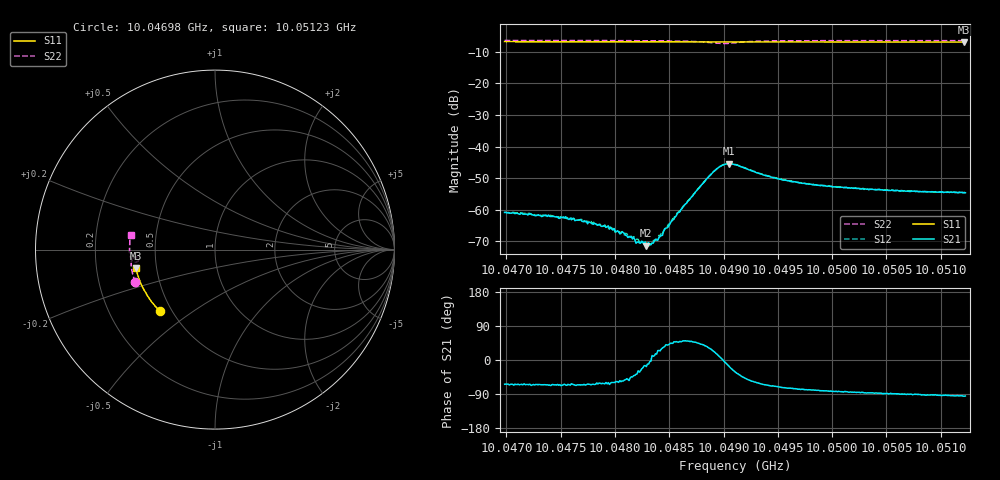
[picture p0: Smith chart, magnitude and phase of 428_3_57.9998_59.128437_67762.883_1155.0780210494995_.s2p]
#  HZ  S  RI  R  50.00
! Rohde & Schwarz Vector Network Analyzer
! Rohde-Schwarz,ZNB20-2Port,1311601062101988,3.16
! Created: UTC 3/21/2024, 1:09:26 AM
! freq[Hz]  re:S11  im:S11  re:S21  im:S21  re:S12  im:S12  re:S22  im:S22
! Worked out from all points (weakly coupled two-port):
!   401 points, 10.04698 GHz to 10.05123 GHz, reference 50 ohm
!   highest |S21| = -45.46 dB at 10.04905 GHz (marker M1); lowest = -71.4 dB at 10.04829 GHz (marker M2)
!   lowest |S11| = -6.9 dB at 10.05122 GHz (marker M3), VSWR 2.65, Z = 19.1 - j5.01 ohm
!   |S11| at or under -10 dB: nowhere
!   |S22| runs from -7.4 to -6.4 dB; largest |S21 - S12| = 0.00037
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1.0046984e10  -0.3056 -0.3433  0.000396 -0.000811  0.000462 -0.000788  -0.4445 -0.181
1.0047525e10  -0.3306 -0.3177  0.000322 -0.000696  0.000332 -0.000657  -0.456 -0.146
1.0047695e10  -0.338 -0.3093  0.000274 -0.000597  0.000345 -0.000605  -0.459 -0.1347
1.0047886e10  -0.346 -0.2995  0.000258 -0.000479  0.00031 -0.000483  -0.4621 -0.1213
1.0048087e10  -0.3542 -0.2891  0.000252 -0.000332  0.000253 -0.000305  -0.4647 -0.1066
1.0048119e10  -0.3555 -0.2875  0.000227 -0.00028  0.00028 -0.000282  -0.4652 -0.1045
1.0048161e10  -0.3573 -0.2852  0.000243 -0.000241  0.000277 -0.000235  -0.4657 -0.1013
1.0048214e10  -0.3593 -0.2823  0.000273 -0.000147  0.000283 -0.00018  -0.4661 -0.0972
1.0048289e10  -0.3622 -0.2785  0.000257 -8.01e-05  0.000295 -3.48e-05  -0.4666 -0.0914
1.0048321e10  -0.3635 -0.2767  0.000279 -2.18e-05  0.000279 3.84e-06  -0.4668 -0.0887
1.0048342e10  -0.3642 -0.2757  0.00029 6.11e-05  0.000287 3.72e-05  -0.4667 -0.0871
1.0048405e10  -0.3667 -0.2722  0.000327 0.000153  0.000349 0.000176  -0.4669 -0.0818
1.0048628e10  -0.3748 -0.26  0.000707 0.000857  0.000664 0.000916  -0.4645 -0.0613
1.0048894e10  -0.3839 -0.245  0.00336 0.00168  0.00328 0.00189  -0.4394 -0.04
1.0048978e10  -0.3864 -0.2404  0.00492 0.000396  0.00488 0.00071  -0.4268 -0.049
1.0049053e10  -0.3889 -0.2363  0.00509 -0.00159  0.00522 -0.00129  -0.4282 -0.0636
1.0049106e10  -0.3907 -0.2333  0.00444 -0.00267  0.00463 -0.0024  -0.4364 -0.0695
1.0049456e10  -0.4017 -0.2133  0.00119 -0.00299  0.00134 -0.00296  -0.4695 -0.0455
1.0049817e10  -0.4118 -0.1917  0.000464 -0.00244  0.000625 -0.00243  -0.4755 -0.0155
1.0050528e10  -0.4283 -0.1481  2.83e-05 -0.00202  0.00017 -0.00204  -0.475 0.0356
1.0051217e10  -0.4399 -0.1044  -0.000175 -0.00185  -3.66e-05 -0.00187  -0.4693 0.0818
1.0051228e10  -0.4401 -0.1038  -0.000168 -0.00184  -6.69e-05 -0.00185  -0.469 0.0824
